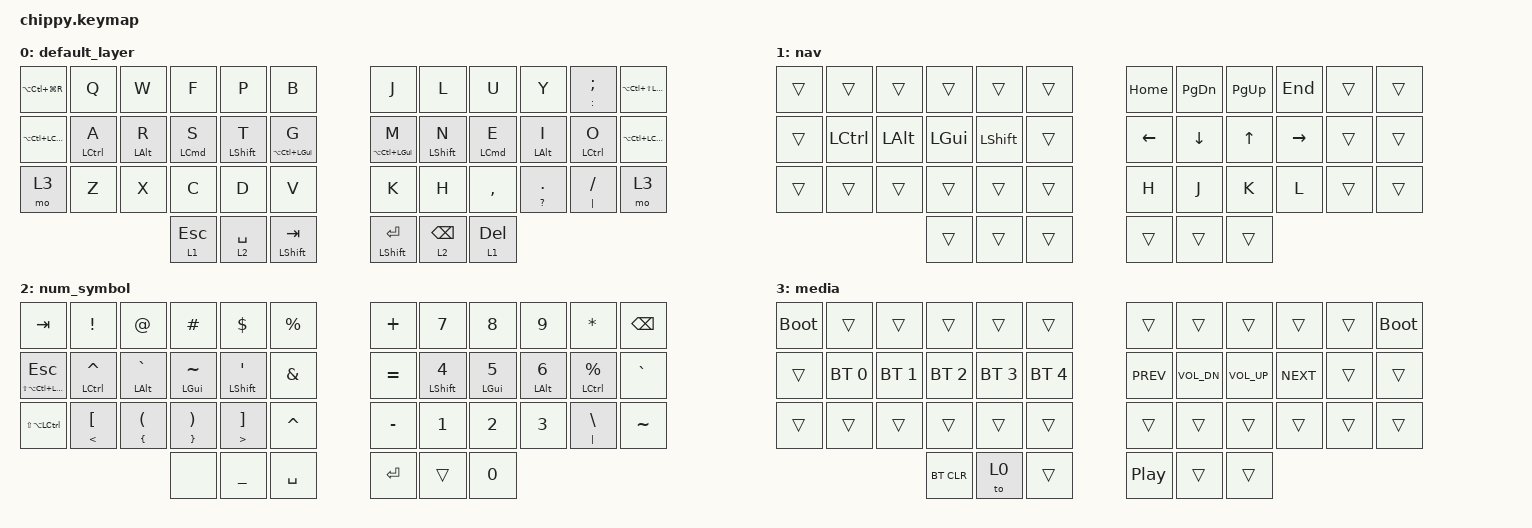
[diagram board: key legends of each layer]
/*
 * Copyright (c) 2020 The ZMK Contributors
 *
 * SPDX-License-Identifier: MIT
 */

#include <behaviors.dtsi>
#include <dt-bindings/zmk/bt.h>
#include <dt-bindings/zmk/keys.h>

/ {
    behaviors {
        hml: hml {
            compatible = "zmk,behavior-hold-tap";
            label = "HML";
            bindings = <&kp>, <&kp>;

            #binding-cells = <2>;
            tapping-term-ms = <220>;
            quick-tap-ms = <175>;
            require-prior-idle-ms = <75>;
            flavor = "balanced";
            hold-trigger-key-positions = <6 7 8 9 10 11 18 19 20 21 22 23 30 31 32 33 34 35 36 37 38 39 40 41>;
            hold-trigger-on-release;
        };

        hmr: hmr {
            compatible = "zmk,behavior-hold-tap";
            label = "HMR";
            bindings = <&kp>, <&kp>;

            #binding-cells = <2>;
            hold-trigger-key-positions = <0 1 2 3 4 5 12 13 14 15 16 17 24 25 26 27 28 29 36 37 38 39 40 41>;
            tapping-term-ms = <220>;
            quick-tap-ms = <175>;
            require-prior-idle-ms = <75>;
            flavor = "balanced";
            hold-trigger-on-release;
        };
    };

    combos {
        compatible = "zmk,combos";

        caps_word {
            bindings = <&caps_word>;
            key-positions = <19 16>;
        };

        undo {
            bindings = <&kp LG(Z)>;
            key-positions = <25 26>;
            require-prior-idle-ms = <150>;
        };

        cut {
            bindings = <&kp LG(X)>;
            key-positions = <26 28 27>;
            require-prior-idle-ms = <150>;
        };

        copy {
            bindings = <&kp LG(C)>;
            key-positions = <27 26>;
            require-prior-idle-ms = <150>;
        };

        paste {
            bindings = <&kp LG(V)>;
            key-positions = <28 27>;
            require-prior-idle-ms = <150>;
        };

        qw_esc {
            bindings = <&kp ESCAPE>;
            key-positions = <1 2>;
        };

        bckspc {
            bindings = <&kp BACKSPACE>;
            key-positions = <7 8>;
        };

        delete {
            bindings = <&kp DELETE>;
            key-positions = <9 10>;
            require-prior-idle-ms = <150>;
        };

        caps_lock {
            bindings = <&kp CAPSLOCK>;
            key-positions = <15 16 19 20>;
        };

        rst_r {
            bindings = <&sys_reset>;
            key-positions = <11 23>;
        };

        rst_l {
            bindings = <&sys_reset>;
            key-positions = <0 12>;
        };
    };

    keymap {
        compatible = "zmk,keymap";

        default_layer {
            bindings = <
&kp LA(LC(LG(R)))         &kp Q                &kp W            &kp F                &kp P              &kp B                    &kp J                    &kp L              &kp U                &kp Y             &mt COLON SEMICOLON  &kp LA(LC(LS(LEFT_COMMAND)))
&kp LA(LC(LEFT_COMMAND))  &hml LEFT_CONTROL A  &hml LEFT_ALT R  &hml LEFT_COMMAND S  &hml LEFT_SHIFT T  &hml LA(LC(LEFT_GUI)) G  &hmr LA(LC(LEFT_GUI)) M  &hmr LEFT_SHIFT N  &hmr LEFT_COMMAND E  &hmr LEFT_ALT I   &hmr LEFT_CONTROL O  &kp LA(LC(LEFT_COMMAND))
&mo 3                     &kp Z                &kp X            &kp C                &kp D              &kp V                    &kp K                    &kp H              &kp COMMA            &mt QUESTION DOT  &mt PIPE SLASH       &mo 3
                                                                &lt 1 ESCAPE         &lt 2 SPACE        &mt LEFT_SHIFT TAB       &mt LEFT_SHIFT ENTER     &lt 2 BACKSPACE    &lt 1 DELETE
            >;
        };

        nav {
            bindings = <
&trans  &trans     &trans        &trans        &trans          &trans  &kp HOME  &kp PAGE_DOWN  &kp PAGE_UP  &kp END    &trans  &trans
&trans  &kp LCTRL  &kp LEFT_ALT  &kp LEFT_GUI  &kp LEFT_SHIFT  &trans  &kp LEFT  &kp DOWN       &kp UP       &kp RIGHT  &trans  &trans
&trans  &trans     &trans        &trans        &trans          &trans  &kp H     &kp J          &kp K        &kp L      &trans  &trans
                                 &trans        &trans          &trans  &trans    &trans         &trans
            >;
        };

        num_symbol {
            bindings = <
&kp TAB                      &kp EXCLAMATION             &kp AT_SIGN                      &kp HASH                           &kp DOLLAR                      &kp PERCENT    &kp PLUS   &kp N7               &kp N8        &kp N9              &kp ASTERISK        &kp BSPC
&mt LS(LA(LC(LGUI))) ESCAPE  &hml LCTRL CARET            &hml LEFT_ALT GRAVE              &hml LGUI TILDE                    &hml LEFT_SHIFT SQT             &kp AMPERSAND  &kp EQUAL  &hmr LSHFT NUMBER_4  &hmr LGUI N5  &hmr LALT NUMBER_6  &hmr LCTRL PERCENT  &kp GRAVE
&kp LS(LA(LEFT_CONTROL))     &mt LESS_THAN LEFT_BRACKET  &mt LEFT_BRACE LEFT_PARENTHESIS  &mt RIGHT_BRACE RIGHT_PARENTHESIS  &mt GREATER_THAN RIGHT_BRACKET  &kp CARET      &kp MINUS  &kp NUMBER_1         &kp NUMBER_2  &kp NUMBER_3        &mt PIPE BACKSLASH  &kp TILDE
                                                                                          &none                              &kp UNDER                       &kp SPACE      &kp RET    &trans               &kp N0
            >;
        };

        media {
            bindings = <
&bootloader  &trans        &trans        &trans        &trans        &trans        &trans            &trans        &trans        &trans      &trans  &bootloader
&trans       &bt BT_SEL 0  &bt BT_SEL 1  &bt BT_SEL 2  &bt BT_SEL 3  &bt BT_SEL 4  &kp C_PREV        &kp C_VOL_DN  &kp C_VOL_UP  &kp C_NEXT  &trans  &trans
&trans       &trans        &trans        &trans        &trans        &trans        &trans            &trans        &trans        &trans      &trans  &trans
                                         &bt BT_CLR    &to 0         &trans        &kp C_PLAY_PAUSE  &trans        &trans
            >;
        };
    };
};
